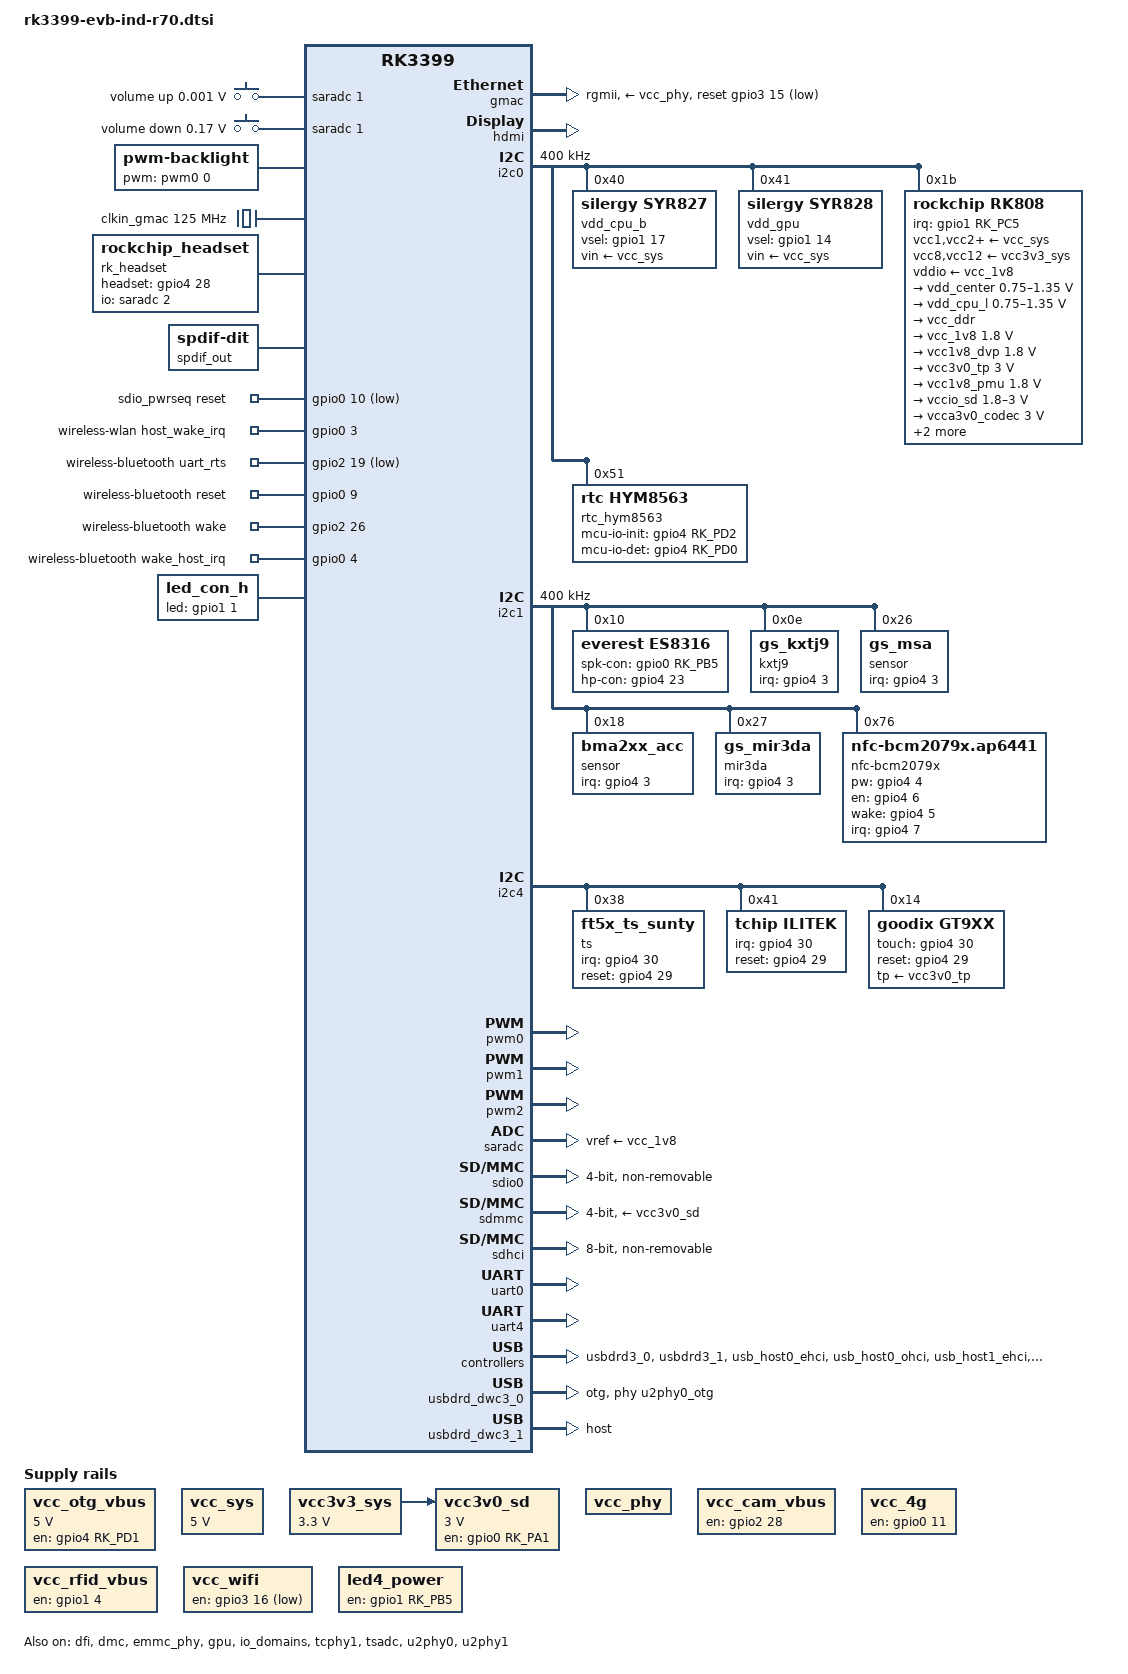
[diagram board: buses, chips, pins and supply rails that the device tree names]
// SPDX-License-Identifier: (GPL-2.0+ OR MIT)
/*
 * Copyright (c) 2019 Fuzhou Rockchip Electronics Co., Ltd
 */

#include "dt-bindings/pwm/pwm.h"
#include "rk3399.dtsi"
#include "rk3399-opp.dtsi"
#include <dt-bindings/sensor-dev.h>
#include "rk3399-vop-clk-set.dtsi"
#include <dt-bindings/input/input.h>

/ {
	compatible = "rockchip,rk3399-evb-ind", "rockchip,rk3399";

	adc_keys {
		compatible = "adc-keys";
		io-channels = <&saradc 1>;
		io-channel-names = "buttons";
		keyup-threshold-microvolt = <1800000>;
		poll-interval = <100>;

		vol-up-key {
			label = "volume up";
			linux,code = <KEY_VOLUMEUP>;
			press-threshold-microvolt = <1000>;
		};

		vol-down-key {
			label = "volume down";
			linux,code = <KEY_VOLUMEDOWN>;
			press-threshold-microvolt = <170000>;
		};
	};

	backlight: backlight {
		status = "okay";
		compatible = "pwm-backlight";
		pwms = <&pwm0 0 500000 0>;
		brightness-levels = <
			  0   1   2   3   4   5   6   7
			  8   9  10  11  12  13  14  15
			 16  17  18  19  20  21  22  23
			 24  25  26  27  28  29  30  31
			 32  33  34  35  36  37  38  39
			 40  41  42  43  44  45  46  47
			 48  49  50  51  52  53  54  55
			 56  57  58  59  60  61  62  63
			 64  65  66  67  68  69  70  71
			 72  73  74  75  76  77  78  79
			 80  81  82  83  84  85  86  87
			 88  89  90  91  92  93  94  95
			 96  97  98  99 100 101 102 103
			104 105 106 107 108 109 110 111
			112 113 114 115 116 117 118 119
			120 121 122 123 124 125 126 127
			128 129 130 131 132 133 134 135
			136 137 138 139 140 141 142 143
			144 145 146 147 148 149 150 151
			152 153 154 155 156 157 158 159
			160 161 162 163 164 165 166 167
			168 169 170 171 172 173 174 175
			176 177 178 179 180 181 182 183
			184 185 186 187 188 189 190 191
			192 193 194 195 196 197 198 199
			200 201 202 203 204 205 206 207
			208 209 210 211 212 213 214 215
			216 217 218 219 220 221 222 223
			224 225 226 227 228 229 230 231
			232 233 234 235 236 237 238 239
			240 241 242 243 244 245 246 247
			248 249 250 251 252 253 254 255>;
		default-brightness-level = <200>;
	};

	clkin_gmac: external-gmac-clock {
		compatible = "fixed-clock";
		clock-frequency = <125000000>;
		clock-output-names = "clkin_gmac";
		#clock-cells = <0>;
	};

	dw_hdmi_audio: dw-hdmi-audio {
		status = "disabled";
		compatible = "rockchip,dw-hdmi-audio";
		#sound-dai-cells = <0>;
	};

	es8316_sound: es8316-sound {
		compatible = "simple-audio-card";
		simple-audio-card,format = "i2s";
		simple-audio-card,name = "rockchip,es8316-codec";
		simple-audio-card,mclk-fs = <256>;
		simple-audio-card,widgets =
			"Microphone", "Mic Jack",
			"Headphone", "Headphone Jack";
		simple-audio-card,routing =
			"Mic Jack", "MICBIAS1",
			"IN1P", "Mic Jack",
			"Headphone Jack", "HPOL",
			"Headphone Jack", "HPOR";
		simple-audio-card,cpu {
			sound-dai = <&i2s0>;
			system-clock-frequency = <11289600>;
		};
		simple-audio-card,codec {
			sound-dai = <&es8316>;
			system-clock-frequency = <11289600>;
		};
	};

	dp_sound: dp-sound {
		status = "disabled";
		compatible = "rockchip,cdndp-sound";
		rockchip,cpu = <&spdif>;
		rockchip,codec = <&cdn_dp 1>;
	};

	hdmi_sound: hdmi-sound {
		status = "disabled";
		compatible = "simple-audio-card";
		simple-audio-card,format = "i2s";
		simple-audio-card,mclk-fs = <256>;
		simple-audio-card,name = "rockchip,hdmi";

		simple-audio-card,cpu {
			sound-dai = <&i2s2>;
		};
		simple-audio-card,codec {
			sound-dai = <&hdmi>;
		};
	};

	rk_headset: rk-headset {
		compatible = "rockchip_headset";
		headset_gpio = <&gpio4 28 GPIO_ACTIVE_HIGH>;
		pinctrl-names = "default";
		pinctrl-0 = <&hp_det>;
		io-channels = <&saradc 2>;
	};

	spdif_sound: spdif-sound {
		status = "okay";
		compatible = "simple-audio-card";
		simple-audio-card,name = "ROCKCHIP,SPDIF";
		simple-audio-card,cpu {
			sound-dai = <&spdif>;
		};
		simple-audio-card,codec {
			sound-dai = <&spdif_out>;
		};
	};

	spdif_out: spdif-out {
		status = "okay";
		compatible = "linux,spdif-dit";
		#sound-dai-cells = <0>;
	};

	sdio_pwrseq: sdio-pwrseq {
		compatible = "mmc-pwrseq-simple";
		clocks = <&rk808 1>;
		clock-names = "ext_clock";
		pinctrl-names = "default";
		pinctrl-0 = <&wifi_enable_h>;

		/*
		 * On the module itself this is one of these (depending
		 * on the actual card populated):
		 * - SDIO_RESET_L_WL_REG_ON
		 * - PDN (power down when low)
		 */
		reset-gpios = <&gpio0 10 GPIO_ACTIVE_LOW>; /* GPIO0_B2 */
	};

	wireless-wlan {
		compatible = "wlan-platdata";
		rockchip,grf = <&grf>;
		wifi_chip_type = "ap6354";
		sdio_vref = <1800>;
		WIFI,host_wake_irq = <&gpio0 3 GPIO_ACTIVE_HIGH>; /* GPIO0_a3 */
		status = "okay";
	};

	wireless-bluetooth {
		compatible = "bluetooth-platdata";
		clocks = <&rk808 1>;
		clock-names = "ext_clock";
		//wifi-bt-power-toggle;
		uart_rts_gpios = <&gpio2 19 GPIO_ACTIVE_LOW>; /* GPIO2_C3 */
		pinctrl-names = "default", "rts_gpio";
		pinctrl-0 = <&uart0_rts>, <&bt_reset_gpio>, <&bt_wake_gpio>, <&bt_irq_gpio>;
		pinctrl-1 = <&uart0_gpios>;
		//BT,power_gpio  = <&gpio3 19 GPIO_ACTIVE_HIGH>; /* GPIOx_xx */
		BT,reset_gpio    = <&gpio0 9 GPIO_ACTIVE_HIGH>; /* GPIO0_B1 */
		BT,wake_gpio     = <&gpio2 26 GPIO_ACTIVE_HIGH>; /* GPIO2_D2 */
		BT,wake_host_irq = <&gpio0 4 GPIO_ACTIVE_HIGH>; /* GPIO0_A4 */
		status = "okay";
	};
    pwmleds{
		compatible = "pwm-wa-leds";
		left-pwm-id = <1>;
		left-period = <30000>;	
		left-default-level = <0>;
		right-pwm-id = <2>;	
		right-period = <30000>;	
		right-default-level = <0>;

		left-red = <155>;//GPIO4_D3
		left-green = <149>;//GPIO4_C5
		left-blue = <56>;//GPIO1_D0
		right-red = <125>;//GPIO3_D5
		right-green = <124>;//GPIO3_D4
		right-blue = <126>;//GPIO3_D6

		status = "okay";	
	};

	led_con_h {
		compatible = "led_con_h";
		//zigbee-en-gpio = <&gpio0 GPIO_C2 GPIO_ACTIVE_HIGH>;
		led-power = <45>;//gpio1 RK_PB5
		led-gpio = <&gpio1 1 GPIO_ACTIVE_HIGH>;
		status = "okay";
	};

/*	
	rk_modem: rk-modem {
		compatible="4g-modem-platdata";
		pinctrl-names = "default";
		pinctrl-0 = <&lte_vbat &lte_power_en &lte_reset>;
		4G,vbat-gpio = <&gpio4 RK_PD0 GPIO_ACTIVE_HIGH>;
		4G,power-gpio = <&gpio4 RK_PC6 GPIO_ACTIVE_LOW>;
		4G,reset-gpio = <&gpio4 RK_PD4 GPIO_ACTIVE_LOW>;
		status = "disabled";
	};
*/
	/*tc358749x_sound:tc358749x-sound {
		status = "okay";
		compatible = "simple-audio-card";
		simple-audio-card,format = "i2s";
		simple-audio-card,name = "rk,hdmiin-tc358749x-codec";
		simple-audio-card,bitclock-master = <&sound0_master>;
		simple-audio-card,frame-master = <&sound0_master>;
		simple-audio-card,cpu {
				sound-dai = <&i2s0>;
		};
		sound0_master: simple-audio-card,codec {
				sound-dai = <&tc358749x>;
		};
	};*/

	vcc_otg_vbus: otg-vbus-regulator { 	
		compatible = "regulator-fixed"; 
		//gpio = <&gpio3 RK_PC6 GPIO_ACTIVE_HIGH>; 
		gpio = <&gpio4 RK_PD1 GPIO_ACTIVE_HIGH>;
		pinctrl-names = "default"; 
		pinctrl-0 = <&otg_vbus_drv>; 
		regulator-name = "vcc_otg_vbus"; 
		regulator-min-microvolt = <5000000>; 
		regulator-max-microvolt = <5000000>; 
		enable-active-high; 
	};
/*
	vcc5v0_usbnet: vcc5v0-usbnet {
		compatible = "regulator-fixed";
		enable-active-high;
		//gpio = <&gpio4 18 GPIO_ACTIVE_HIGH>;
		pinctrl-names = "default";
		pinctrl-0 = <&usbnet_pwr_drv>;
		regulator-name = "vcc5v0_usbnet";
		startup-delay-us = <20000>;
		regulator-min-microvolt = <5000000>;
		regulator-max-microvolt = <5000000>;
		status = "okay";
	};
*/
	vcc_sys: vcc-sys {
		compatible = "regulator-fixed";	
		regulator-name = "vcc_sys";
		regulator-always-on;
		regulator-boot-on;
		regulator-min-microvolt = <5000000>;
		regulator-max-microvolt = <5000000>;
	};

	vcc3v3_sys: vcc3v3-sys {
		compatible = "regulator-fixed";
		regulator-name = "vcc3v3_sys";
		regulator-always-on;
		regulator-boot-on;
		regulator-min-microvolt = <3300000>;
		regulator-max-microvolt = <3300000>;
	};

	vcc3v0_sd: vcc3v0-sd {
		compatible = "regulator-fixed";
		enable-active-high;
		gpio = <&gpio0 RK_PA1 GPIO_ACTIVE_HIGH>;
		pinctrl-names = "default";
		pinctrl-0 = <&sdmmc0_pwr_h>;
		regulator-always-on;
		regulator-max-microvolt = <3000000>;
		regulator-min-microvolt = <3000000>;
		regulator-name = "vcc3v0_sd";
		vin-supply = <&vcc3v3_sys>;
	};

	vcc_phy: vcc-phy-regulator {
		compatible = "regulator-fixed";
		regulator-name = "vcc_phy";
		regulator-always-on;
		regulator-boot-on;
	};

	vcc_cam_vbus: cam-vbus-regulator { 	
		compatible = "regulator-fixed"; 		
		gpio = <&gpio2 28 GPIO_ACTIVE_HIGH>;
		pinctrl-names = "default"; 
		pinctrl-0 = <&usb_cam_drv>; 
		regulator-name = "vcc_cam_vbus"; 
		regulator-always-on;
		regulator-boot-on; 
		enable-active-high; 
	};

	vcc_4g: vcc-4g-regulator {
		compatible = "regulator-fixed";
		enable-active-high;
		gpio = <&gpio0 11 GPIO_ACTIVE_HIGH>;
		pinctrl-names = "default";
		pinctrl-0 = <&vcc_4g_drv>;
		regulator-name = "vcc_4g";
		regulator-always-on;
		regulator-boot-on;		
	};

	vcc_rfid_vbus: rfid-vbus-regulator { 	
		compatible = "regulator-fixed"; 		
		gpio = <&gpio1 4 GPIO_ACTIVE_HIGH>;
		pinctrl-names = "default"; 
		pinctrl-0 = <&vcc_rfid_drv>; 
		regulator-name = "vcc_rfid_vbus"; 
		regulator-always-on;
		regulator-boot-on; 
		enable-active-high; 
	};

	vcc_wifi: vcc-wifi-regulator { 	
		compatible = "regulator-fixed"; 		
		gpio = <&gpio3 16 GPIO_ACTIVE_LOW>;
		pinctrl-names = "default"; 
		pinctrl-0 = <&vcc_wifi_drv>; 
		regulator-name = "vcc_wifi"; 
		regulator-always-on;
		regulator-boot-on; 
		enable-active-low; 
	};

	led4_power: led4-power-regulator {
		compatible = "regulator-fixed";
		gpio = <&gpio1 RK_PB5 GPIO_ACTIVE_HIGH>;
		pinctrl-names = "default";
		pinctrl-0 = <&led4_pwr>;
		regulator-name = "led4_power";
		enable-active-high;
		regulator-always-on;
		regulator-boot-on;
	};

	/*vdd_log: vdd-log {
		compatible = "pwm-regulator";
		regulator-name = "vdd_log";
		regulator-min-microvolt = <800000>;
		regulator-max-microvolt = <1400000>;
		regulator-always-on;
		regulator-boot-on;
		rockchip,pwm_id= <2>;
		rockchip,pwm_voltage = <900000>;
	};*/
};

&cpu_l0 {
	cpu-supply = <&vdd_cpu_l>;
};

&cpu_l1 {
	cpu-supply = <&vdd_cpu_l>;
};

&cpu_l2 {
	cpu-supply = <&vdd_cpu_l>;
};

&cpu_l3 {
	cpu-supply = <&vdd_cpu_l>;
};

&cpu_b0 {
	cpu-supply = <&vdd_cpu_b>;
};

&cpu_b1 {
	cpu-supply = <&vdd_cpu_b>;
};
/*
&cdn_dp {
	status = "okay";
	extcon = <&fusb0>;
	phys = <&tcphy0_dp>;
};
*/
&dp_in_vopb {
	status = "disabled";
};

&dfi {
	status = "okay";
};

&dmc {
	status = "okay";
	center-supply = <&vdd_center>;
	upthreshold = <40>;
	downdifferential = <20>;
	system-status-freq = <
		/*system status         freq(KHz)*/
		SYS_STATUS_NORMAL       856000
		SYS_STATUS_REBOOT       856000
		SYS_STATUS_SUSPEND      328000
		SYS_STATUS_VIDEO_1080P  666000
		SYS_STATUS_VIDEO_4K     856000
		SYS_STATUS_VIDEO_4K_10B 856000
		SYS_STATUS_PERFORMANCE  856000
		SYS_STATUS_BOOST        856000
		SYS_STATUS_DUALVIEW     856000
		SYS_STATUS_ISP          856000
	>;
	vop-bw-dmc-freq = <
	/* min_bw(MB/s) max_bw(MB/s) freq(KHz) */
		0       762      416000
		763     3012     666000
		3013    99999    856000
	>;

	vop-pn-msch-readlatency = <
		0	0x20
		4	0x20
	>;

	auto-min-freq = <328000>;
	auto-freq-en = <0>;
};

&dmc_opp_table {
		compatible = "operating-points-v2";

		opp-200000000 {
			opp-hz = /bits/ 64 <200000000>;
			opp-microvolt = <900000>;
			status = "disabled";
		};
		opp-300000000 {
			opp-hz = /bits/ 64 <300000000>;
			opp-microvolt = <900000>;
			status = "disabled";
		};
		opp-328000000 {
			opp-hz = /bits/ 64 <328000000>;
			opp-microvolt = <900000>;
		};
		opp-400000000 {
			opp-hz = /bits/ 64 <400000000>;
			opp-microvolt = <900000>;
			status = "disabled";
		};
		opp-416000000 {
			opp-hz = /bits/ 64 <416000000>;
			opp-microvolt = <900000>;
		};
		opp-528000000 {
			opp-hz = /bits/ 64 <528000000>;
			opp-microvolt = <900000>;
			status = "disabled";
		};
		opp-600000000 {
			opp-hz = /bits/ 64 <600000000>;
			opp-microvolt = <900000>;
			status = "disabled";
		};
		opp-666000000 {
			opp-hz = /bits/ 64 <666000000>;
			opp-microvolt = <900000>;
		};
		opp-800000000 {
			opp-hz = /bits/ 64 <800000000>;
			opp-microvolt = <900000>;
			status = "disabled";
		};
		opp-856000000 {
			opp-hz = /bits/ 64 <856000000>;
			opp-microvolt = <900000>;
		};
		opp-928000000 {
			opp-hz = /bits/ 64 <928000000>;
			opp-microvolt = <900000>;
			status = "disabled";
		};
};

&emmc_phy {
	status = "okay";
};

&gmac {
	phy-supply = <&vcc_phy>;
	phy-mode = "rgmii";
	clock_in_out = "output";
	snps,reset-gpio = <&gpio3 15 GPIO_ACTIVE_LOW>;
	snps,reset-active-low;
	snps,reset-delays-us = <0 10000 150000>;
	assigned-clocks = <&cru SCLK_RMII_SRC>;
	assigned-clock-parents = <&clkin_gmac>;
	pinctrl-names = "default";
	pinctrl-0 = <&rgmii_pins>;
	tx_delay = <0x28>;
	rx_delay = <0x11>;
	status = "okay";
};

&gpu {
	status = "okay";
	mali-supply = <&vdd_gpu>;
};

&hdmi {
	status = "okay";
};

&i2c0 {
	status = "okay";
	i2c-scl-rising-time-ns = <168>;
	i2c-scl-falling-time-ns = <4>;
	clock-frequency = <400000>;



	vdd_cpu_b: syr837@40 {
		compatible = "silergy,syr827";
		reg = <0x40>;
		vin-supply = <&vcc_sys>;
		regulator-compatible = "fan53555-reg";
		pinctrl-0 = <&vsel1_gpio>;
		vsel-gpios = <&gpio1 17 GPIO_ACTIVE_HIGH>;
		regulator-name = "vdd_cpu_b";
		regulator-min-microvolt = <712500>;
		regulator-max-microvolt = <1500000>;
		regulator-ramp-delay = <1000>;
		fcs,suspend-voltage-selector = <1>;
		regulator-always-on;
		regulator-initial-state = <3>;
		regulator-state-mem {
		    //modify by pirlo for slove reboot crash
			regulator-on-in-suspend;
		};
	};

	
	vdd_gpu: syr828@41 {
		compatible = "silergy,syr828";
		status = "okay";
		reg = <0x41>;
		vin-supply = <&vcc_sys>;
		regulator-compatible = "fan53555-reg";
		pinctrl-0 = <&vsel2_gpio>;
		vsel-gpios = <&gpio1 14 GPIO_ACTIVE_HIGH>;
		regulator-name = "vdd_gpu";
		regulator-min-microvolt = <735000>;
		regulator-max-microvolt = <1400000>;
		regulator-ramp-delay = <1000>;
		fcs,suspend-voltage-selector = <1>;
		regulator-always-on;
		regulator-boot-on;
		regulator-state-mem {
			//modify by pirlo for slove reboot crash
			regulator-on-in-suspend;
		};
	};

	rk808: pmic@1b {
		compatible = "rockchip,rk808";
		reg = <0x1b>;
		interrupt-parent = <&gpio1>;
		interrupts = <RK_PC5 IRQ_TYPE_LEVEL_LOW>;
		pinctrl-names = "default";//add by rocky.sun
		pinctrl-0 = <&pmic_int_l>;
		rockchip,system-power-controller;
		wakeup-source;
		#clock-cells = <1>;
		clock-output-names = "rk808-clkout1", "rk808-clkout2";
		//clock-output-names = "xin32k", "rk808-clkout2";//modify by rocky.sun


		vcc1-supply = <&vcc_sys>;
		vcc2-supply = <&vcc_sys>;
		vcc3-supply = <&vcc_sys>;
		vcc4-supply = <&vcc_sys>;
		vcc6-supply = <&vcc_sys>;
		vcc7-supply = <&vcc_sys>;
		vcc8-supply = <&vcc3v3_sys>;
		vcc9-supply = <&vcc_sys>;
		vcc10-supply = <&vcc_sys>;
		vcc11-supply = <&vcc_sys>;
		vcc12-supply = <&vcc3v3_sys>;
		vddio-supply = <&vcc_1v8>;


		regulators {
			vdd_center: DCDC_REG1 {
				regulator-always-on;
				regulator-boot-on;
				regulator-min-microvolt = <750000>;
				regulator-max-microvolt = <1350000>;
				regulator-ramp-delay = <6001>;
				regulator-initial-mode = <0x2>;
				regulator-name = "vdd_center";
				regulator-state-mem {
					//regulator-off-in-suspend;
					regulator-on-in-suspend;
					regulator-suspend-microvolt = <900000>;
				};
			};

			vdd_cpu_l: DCDC_REG2 {
				regulator-always-on;
				regulator-boot-on;
				regulator-min-microvolt = <750000>;
				regulator-max-microvolt = <1350000>;
				regulator-ramp-delay = <6001>;
				regulator-initial-mode = <0x2>;
				regulator-name = "vdd_cpu_l";
				regulator-state-mem {
					regulator-off-in-suspend;
				};
			};

			vcc_ddr: DCDC_REG3 {
				regulator-always-on;
				regulator-boot-on;
				regulator-name = "vcc_ddr";
				regulator-initial-mode = <0x2>;
				regulator-state-mem {
					regulator-on-in-suspend;
				};
			};

			 //vcca1v8_codec:
			vcc_1v8: DCDC_REG4 {
				regulator-always-on;
				regulator-boot-on;
				regulator-min-microvolt = <1800000>;
				regulator-max-microvolt = <1800000>;
				regulator-initial-mode = <0x2>;
				regulator-name = "vcc_1v8";
				regulator-state-mem {
					regulator-on-in-suspend;
					regulator-suspend-microvolt = <1800000>;
				};
			};
			vcc1v8_dvp: LDO_REG1 {
				regulator-always-on;
				regulator-boot-on;
				regulator-min-microvolt = <1800000>;//1900000
				regulator-max-microvolt = <1800000>;//1900000
				regulator-name = "vcc1v8_dvp";
				regulator-state-mem {
					regulator-on-in-suspend;
					regulator-suspend-microvolt = <1800000>;
				};
			};

			vcc3v0_tp: LDO_REG2 {
				regulator-always-on;
				regulator-boot-on;
				//modify by pirlo for hdmi voltage to  touchscreen 3.0v
				regulator-min-microvolt = <3000000>;
				regulator-max-microvolt = <3000000>;
				regulator-name = "vcc3v0_tp";
				regulator-state-mem {
					regulator-on-in-suspend;
					regulator-suspend-microvolt = <3000000>;
				};
			};

			vcc1v8_pmu: LDO_REG3 {
				regulator-always-on;
				regulator-boot-on;
				regulator-min-microvolt = <1800000>;
				regulator-max-microvolt = <1800000>;
				regulator-name = "vcc1v8_pmu";
				regulator-state-mem {
					regulator-on-in-suspend;
					regulator-suspend-microvolt = <1800000>;
				};
			};

			vccio_sd: LDO_REG4 {
				regulator-always-on;
				regulator-boot-on;
				regulator-min-microvolt = <1800000>;
				regulator-max-microvolt = <3000000>;
				regulator-name = "vccio_sd";
				regulator-state-mem {
					regulator-on-in-suspend;
					regulator-suspend-microvolt = <3000000>;
				};
			};

			vcca3v0_codec: LDO_REG5 {
				regulator-always-on;
				regulator-boot-on;
				regulator-min-microvolt = <3000000>;
				regulator-max-microvolt = <3000000>;
				regulator-name = "vcca3v0_codec";
				regulator-state-mem {
					//regulator-off-in-suspend;
					regulator-on-in-suspend;
					regulator-suspend-microvolt = <3000000>;
				};
			};

			vcc_1v5: LDO_REG6 {
				regulator-always-on;
				regulator-boot-on;
				regulator-min-microvolt = <1500000>;
				regulator-max-microvolt = <1500000>;
				regulator-name = "vcc_1v5";
				regulator-state-mem {
					regulator-on-in-suspend;
					regulator-suspend-microvolt = <1500000>;
				};
			};

            //modify by pirlo for change hdmi 0.9v to codec 1.8v
			vcca1v8_codec: LDO_REG7 {
				regulator-name = "vcca1v8_codec";
				regulator-min-microvolt = <1800000>;
				regulator-max-microvolt = <1800000>;
				regulator-always-on;
				regulator-boot-on;
				regulator-state-mem {
					regulator-on-in-suspend;
					regulator-suspend-microvolt = <1800000>;
				};
			};

			vcc_3v0: LDO_REG8 {
				regulator-always-on;
				regulator-boot-on;
				regulator-min-microvolt = <3000000>;
				regulator-max-microvolt = <3000000>;
				regulator-name = "vcc_3v0";
				regulator-state-mem {
					regulator-on-in-suspend;
					regulator-suspend-microvolt = <3000000>;
				};
			};

			vcc3v3_s3: SWITCH_REG1 {
				regulator-always-on;
				regulator-boot-on;
				regulator-name = "vcc3v3_s3";
				regulator-state-mem {
					regulator-on-in-suspend;
				};
			};

			vcc3v3_s0: SWITCH_REG2 {
				regulator-boot-on;
				//modify by pirlo 
				//regulator-always-on;
				regulator-name = "vcc3v3_s0";
				regulator-state-mem {
					regulator-off-in-suspend;
				};
			};
		};
	};

	//modify by pirlo  for rtc
	rtc_hym8563: rtc_hym8563@51 {
		compatible = "rtc,hym8563";
		reg = <0x51>;
		mcu-io-init = <&gpio4 RK_PD2 GPIO_ACTIVE_HIGH>;	
		mcu-io-det = <&gpio4 RK_PD0 GPIO_ACTIVE_HIGH>;	
	};
};

&i2c1 {
	status = "okay";
	i2c-scl-rising-time-ns = <140>;
	i2c-scl-falling-time-ns = <30>;
	clock-frequency = <400000>;
	
	es8316: es8316@10 {
		#sound-dai-cells = <0>;
		compatible = "everest,es8316";
		reg = <0x10>;
		clocks = <&cru SCLK_I2S_8CH_OUT>;
		clock-names = "mclk";
		pinctrl-names = "default";
		pinctrl-0 = <&i2s_8ch_mclk>;

		spk-con-gpio = <&gpio0 RK_PB5 GPIO_ACTIVE_HIGH>;//LPDDR4
		hp-con-gpio = <&gpio4 23 GPIO_ACTIVE_HIGH>;
		spk_volume = <0x99>;

        extcon = <&rk_headset>;
		status = "okay";		
	};	
  
	kxtj9@0e {
		compatible = "gs_kxtj9";
		reg = <0x0e>;
		type = <SENSOR_TYPE_ACCEL>;
        irq-gpio = <&gpio4 3 IRQ_TYPE_LEVEL_LOW>;		
		irq_enable = <0>;
		poll_delay_ms = <30>;
		//layout = <5>;	 //R66 R67
		layout = <2>;	 //R69	
		status = "okay";
	};
	
	sensor@26 {
		compatible = "gs_msa";
		reg = <0x26>;
		type = <SENSOR_TYPE_ACCEL>;
		irq-gpio = <&gpio4 3 IRQ_TYPE_LEVEL_LOW>;		
		irq_enable = <0>;
		poll_delay_ms = <30>;
		layout = <3>;
	};

	sensor@18 {
		compatible = "bma2xx_acc";
		reg = <0x18>;
		type = <SENSOR_TYPE_ACCEL>;
        irq-gpio = <&gpio4 3 IRQ_TYPE_LEVEL_LOW>;		
		irq_enable = <0>;
		poll_delay_ms = <30>;
		//layout = <5>;	 //R66 R67
		layout = <2>;	 //R69	
		status = "okay";
	};

	mir3da:sensor@27{
		compatible = "gs_mir3da"; 
		reg = <0x27>; 
		type = <SENSOR_TYPE_ACCEL>; 
		
		irq-gpio = <&gpio4 3 IRQ_TYPE_LEVEL_LOW>;           
		irq_enable = <0>; 
		poll_delay_ms = <30>; 
		//layout = <2>;   /// R08 DEMO 180   21.5 24
		layout = <4>;   /// R08 DEMO rotation 0  32 15.6
	};
	
    nfc-bcm2079x@76 {
        	compatible = "nfc-bcm2079x.ap6441";
        	reg = <0x76>;
        	pw_gpio = <&gpio4 4 GPIO_ACTIVE_HIGH>;       ////gpio4_a4
        	en_gpio = <&gpio4 6 GPIO_ACTIVE_HIGH>;       ////gpio4_a6
        	wake_gpio = <&gpio4 5 GPIO_ACTIVE_HIGH>;     ////gpio4_a5
        	irq_gpio = <&gpio4 7 IRQ_TYPE_EDGE_RISING>;  ////gpio4_a7
        	status = "okay";
    };
};

&i2c4 {
	status = "okay";
	i2c-scl-rising-time-ns = <475>;
	i2c-scl-falling-time-ns = <26>;

	ts@38 {
        status = "okay";
        compatible = "ft5x_ts_sunty";
        reg = <0x38>;
        irq-gpio = <&gpio4 30 IRQ_TYPE_LEVEL_LOW>;
        reset-gpio = <&gpio4 29 GPIO_ACTIVE_HIGH>;
        screen_max_x = <1920>;
        screen_max_y = <1080>;
		pinctrl-names = "default";
		//pinctrl-0 = <&tp_irq &tp_rst>;
    };

	ilitek@41 {
		status = "okay";
		compatible = "tchip,ilitek";
		reg = <0x41>;
		ilitek,irq-gpio = <&gpio4 30 IRQ_TYPE_LEVEL_LOW>;
		ilitek,reset-gpio = <&gpio4 29 GPIO_ACTIVE_HIGH>;
    	};

	gt9xx: gt9xx@14 {
		status = "okay";
		compatible = "goodix,gt9xx";
		reg = <0x14>;
		touch-gpio = <&gpio4 30 IRQ_TYPE_LEVEL_LOW>;
		reset-gpio = <&gpio4 29 GPIO_ACTIVE_HIGH>;
		//max-x = <1200>;
		//max-y = <1900>;
		tp-size = <89>;
		max-x = <1280>;
		max-y = <800>;
		tp-supply = <&vcc3v0_tp>;	
	};	
};

&i2c6 {
	cw2015@62 {
		status = "disabled";
		compatible = "cw201x";
		reg = <0x62>;
		bat_config_info = <0x15 0x42 0x60 0x59 0x52 0x58 0x4D 0x48
				   0x48 0x44 0x44 0x46 0x49 0x48 0x32 0x24
				   0x20 0x17 0x13 0x0F 0x19 0x3E 0x51 0x45
				   0x08 0x76 0x0B 0x85 0x0E 0x1C 0x2E 0x3E
				   0x4D 0x52 0x52 0x57 0x3D 0x1B 0x6A 0x2D
				   0x25 0x43 0x52 0x87 0x8F 0x91 0x94 0x52
				   0x82 0x8C 0x92 0x96 0xFF 0x7B 0xBB 0xCB
				   0x2F 0x7D 0x72 0xA5 0xB5 0xC1 0x46 0xAE>;
		monitor_sec = <5>;
		virtual_power = <0>;
	};
};

&i2s0 {
	status = "disabled";
	rockchip,i2s-broken-burst-len;
	rockchip,playback-channels = <8>;
	rockchip,capture-channels = <8>;
	#sound-dai-cells = <0>;
};

&i2s1 {
	#sound-dai-cells = <0>;
	status = "disabled";
};

&i2s2 {
	#sound-dai-cells = <0>;
	dmas = <&dmac_bus 4>;
	dma-names = "tx";
	status = "disabled";
};

&io_domains {
	status = "okay";

	bt656-supply = <&vcc1v8_dvp>;		/* bt656_gpio2ab_ms */
	audio-supply = <&vcc_1v8>;	/* audio_gpio3d4a_ms */
	sdmmc-supply = <&vccio_sd>;		/* sdmmc_gpio4b_ms */
	gpio1830-supply = <&vcc_3v0>;		/* gpio1833_gpio4cd_ms */
};

&isp0_mmu {
	status = "okay";
};

&isp1_mmu {
	status = "okay";
};

&pmu_io_domains {
	status = "okay";
	pmu1830-supply = <&vcc_3v0>;
};

/*
&pcie_phy {
	status = "okay";
};

&pcie0 {
	ep-gpios = <&gpio2 RK_PA4 GPIO_ACTIVE_HIGH>;
	num-lanes = <4>;
	pinctrl-names = "default";
	pinctrl-0 = <&pcie_clkreqn_cpm>;
	status = "okay";
};
*/
&pwm0 {
	status = "okay";
};

&pwm1 {
	status = "okay";
};

&pwm2 {
	status = "okay";
//	pinctrl-names = "active";
//	pinctrl-0 = <&pwm2_pin_pull_down>;
};
/*
&pwm3 {
	status = "okay";

	interrupts = <GIC_SPI 61 IRQ_TYPE_LEVEL_HIGH 0>;
	compatible = "rockchip,remotectl-pwm";
	remote_pwm_id = <3>;
	handle_cpu_id = <1>;
	remote_support_psci = <4>;
	pinctrl-names = "default";

	ir_key1 {
		rockchip,usercode = <0x4040>;
		rockchip,key_table =
			<0xf2	KEY_REPLY>,
			<0xba	KEY_BACK>,
			<0xf4	KEY_UP>,
			<0xf1	KEY_DOWN>,
			<0xef	KEY_LEFT>,
			<0xee	KEY_RIGHT>,
			<0xbd	KEY_HOME>,
			<0xea	KEY_VOLUMEUP>,
			<0xe3	KEY_VOLUMEDOWN>,
			<0xe2	KEY_SEARCH>,
			<0xb2	KEY_POWER>,
			<0xbc	KEY_MUTE>,
			<0xec	KEY_MENU>,
			<0xbf	0x190>,
			<0xe0	0x191>,
			<0xe1	0x192>,
			<0xe9	183>,
			<0xe6	248>,
			<0xe8	185>,
			<0xe7	186>,
			<0xf0	388>,
			<0xbe	0x175>;
	};

	ir_key2 {
		rockchip,usercode = <0xff00>;
		rockchip,key_table =
			<0xf9	KEY_HOME>,
			<0xbf	KEY_BACK>,
			<0xfb	KEY_MENU>,
			<0xaa	KEY_REPLY>,
			<0xb9	KEY_UP>,
			<0xe9	KEY_DOWN>,
			<0xb8	KEY_LEFT>,
			<0xea	KEY_RIGHT>,
			<0xeb	KEY_VOLUMEDOWN>,
			<0xef	KEY_VOLUMEUP>,
			<0xf7	KEY_MUTE>,
			<0xe7	KEY_POWER>,
			<0xfc	KEY_POWER>,
			<0xa9	KEY_VOLUMEDOWN>,
			<0xa8	KEY_VOLUMEDOWN>,
			<0xe0	KEY_VOLUMEDOWN>,
			<0xa5	KEY_VOLUMEDOWN>,
			<0xab	183>,
			<0xb7	388>,
			<0xe8	388>,
			<0xf8	184>,
			<0xaf	185>,
			<0xed	KEY_VOLUMEDOWN>,
			<0xee	186>,
			<0xb3	KEY_VOLUMEDOWN>,
			<0xf1	KEY_VOLUMEDOWN>,
			<0xf2	KEY_VOLUMEDOWN>,
			<0xf3	KEY_SEARCH>,
			<0xb4	KEY_VOLUMEDOWN>,
			<0xbe	KEY_SEARCH>;
	};

	ir_key3 {
		rockchip,usercode = <0x1dcc>;
		rockchip,key_table =
			<0xee	KEY_REPLY>,
			<0xf0	KEY_BACK>,
			<0xf8	KEY_UP>,
			<0xbb	KEY_DOWN>,
			<0xef	KEY_LEFT>,
			<0xed	KEY_RIGHT>,
			<0xfc	KEY_HOME>,
			<0xf1	KEY_VOLUMEUP>,
			<0xfd	KEY_VOLUMEDOWN>,
			<0xb7	KEY_SEARCH>,
			<0xff	KEY_POWER>,
			<0xf3	KEY_MUTE>,
			<0xbf	KEY_MENU>,
			<0xf9	0x191>,
			<0xf5	0x192>,
			<0xb3	388>,
			<0xbe	KEY_1>,
			<0xba	KEY_2>,
			<0xb2	KEY_3>,
			<0xbd	KEY_4>,
			<0xf9	KEY_5>,
			<0xb1	KEY_6>,
			<0xfc	KEY_7>,
			<0xf8	KEY_8>,
			<0xb0	KEY_9>,
			<0xb6	KEY_0>,
			<0xb5	KEY_BACKSPACE>;
	};
};
*/
&rockchip_suspend {
	status = "okay";
	rockchip,sleep-debug-en = <1>;
	rockchip,sleep-mode-config = <
		(0
		| RKPM_SLP_ARMPD
		| RKPM_SLP_PERILPPD
		| RKPM_SLP_DDR_RET
		| RKPM_SLP_PLLPD
		| RKPM_SLP_CENTER_PD
		| RKPM_SLP_AP_PWROFF
		)
		>;
	rockchip,wakeup-config = <
		(0
		| RKPM_GPIO_WKUP_EN
		| RKPM_PWM_WKUP_EN
		)
		>;
		rockchip,pwm-regulator-config = <
		(0
		| PWM2_REGULATOR_EN
		)
		>;
		rockchip,power-ctrl =
		<&gpio1 17 GPIO_ACTIVE_HIGH>,
		<&gpio1 14 GPIO_ACTIVE_HIGH>;
};

&saradc {
	status = "okay";
};

&spdif {
	status = "disabled";
	pinctrl-0 = <&spdif_bus>;
	i2c-scl-rising-time-ns = <450>;
	i2c-scl-falling-time-ns = <15>;
	#sound-dai-cells = <0>;
};

&sdio0 {
	clock-frequency = <50000000>;
	clock-freq-min-max = <200000 50000000>;
	supports-sdio;
	bus-width = <4>;
	disable-wp;
	cap-sd-highspeed;
	cap-sdio-irq;
	keep-power-in-suspend;
	mmc-pwrseq = <&sdio_pwrseq>;
	non-removable;
	num-slots = <1>;
	pinctrl-names = "default";
	pinctrl-0 = <&sdio0_bus4 &sdio0_cmd &sdio0_clk>;
	//sd-uhs-sdr104;
	status = "okay";
};

&sdmmc {
	clock-frequency = <150000000>;
	clock-freq-min-max = <100000 150000000>;
	supports-sd;
	bus-width = <4>;
	cap-mmc-highspeed;
	cap-sd-highspeed;
	disable-wp;
	num-slots = <1>;
	sd-uhs-sdr104;
	vmmc-supply = <&vcc3v0_sd>;
	vqmmc-supply = <&vccio_sd>;
	pinctrl-names = "default";
	pinctrl-0 = <&sdmmc_clk &sdmmc_cmd &sdmmc_cd &sdmmc_bus4>;
	status = "okay";
};

&sdhci {
	bus-width = <8>;
	mmc-hs400-1_8v;
	supports-emmc;
	non-removable;
	keep-power-in-suspend;
	mmc-hs400-enhanced-strobe;
	status = "okay";
};

&saradc {
	status = "okay";
	vref-supply = <&vcc_1v8>;
};

&tcphy0 {
	//extcon = <&fusb0>;
	status = "disabled";
};

&tcphy1 {
	status = "okay";
};

&tsadc {
	/* tshut mode 0:CRU 1:GPIO */
	rockchip,hw-tshut-mode = <1>;
	/* tshut polarity 0:LOW 1:HIGH */
	rockchip,hw-tshut-polarity = <1>;
	status = "okay";
};

&uart0 {
	pinctrl-names = "default";
	pinctrl-0 = <&uart0_xfer &uart0_cts>;
	status = "okay";
};

&uart2 {
	status = "disabled";
};

&uart4 {
	status = "okay";
};

&u2phy0 {
	status = "okay";
	//extcon = <&fusb0>;

	u2phy0_otg: otg-port {
		vbus-supply = <&vcc_otg_vbus>;
		//rockchip,vbus-always-on;
		status = "okay";
	};

	u2phy0_host: host-port {
		//phy-supply = <&vcc5v0_usb>;
		status = "okay";
	};
};

&u2phy1 {
	status = "okay";

	u2phy1_otg: otg-port {
		status = "okay";
	};

	u2phy1_host: host-port {
		status = "okay";
	};
};

&usbdrd3_0 {
	extcon = <&u2phy0>;
	status = "okay";
};

&usbdrd3_1 {
	status = "okay";
};

&usbdrd_dwc3_0 {
	dr_mode = "otg";
	maximum-speed = "high-speed";
	phys = <&u2phy0_otg>;
	extcon = <&u2phy0>;
	status = "okay";
	phy-names = "usb2-phy";
	//extcon = <&fusb0>;
};

&usbdrd_dwc3_1 {
	status = "okay";
	dr_mode = "host";
};

&usb_host0_ehci {
	status = "okay";
};

&usb_host0_ohci {
	status = "okay";
};

&usb_host1_ehci {
	status = "okay";
};

&usb_host1_ohci {
	status = "okay";
};

&vopb {
	assigned-clocks = <&cru DCLK_VOP0_DIV>;
	assigned-clock-parents = <&cru PLL_CPLL>;
};

&vopl {
	assigned-clocks = <&cru DCLK_VOP1_DIV>;
	assigned-clock-parents = <&cru PLL_VPLL>;
};

&pinctrl {

	ak8963 {
		ak8963_irq_gpio: ak8963-irq-gpio {
			rockchip,pins = <1 RK_PA0 RK_FUNC_GPIO &pcfg_pull_none>;
		};
	};

	charger {
		charger_ok: charge-ok {
			rockchip,pins =
				<0 RK_PA5 RK_FUNC_GPIO &pcfg_pull_up>;
		};
	};

	led {
		led4_pwr: led4-pwr {
			rockchip,pins = <1 RK_PB5 RK_FUNC_GPIO &pcfg_pull_none>;
		};
	};

	i2s0 {
		i2s0_8ch_bus: i2s0-8ch-bus {
			rockchip,pins =
				<3 RK_PD0 1 &pcfg_pull_none>,
				<3 RK_PD2 1 &pcfg_pull_none>,
				<3 RK_PD3 1 &pcfg_pull_none>,
				//<3 RK_PD4 1 &pcfg_pull_none>,
				//<3 RK_PD5 1 &pcfg_pull_none>,
				//<3 RK_PD6 1 &pcfg_pull_none>,
				<3 RK_PD7 1 &pcfg_pull_none>;
			};

		i2s_8ch_mclk: i2s-8ch-mclk {
				rockchip,pins = <4 RK_PA0 1 &pcfg_pull_none>;
		};
	};

	i2s1 {
		i2s1_2ch_bus: i2s1-2ch-bus {
			rockchip,pins =
				<4 RK_PA3 1 &pcfg_pull_none>,
				<4 RK_PA5 1 &pcfg_pull_none>,
				<4 RK_PA6 1 &pcfg_pull_none>,
				<4 RK_PA7 1 &pcfg_pull_none>;
		};
	};

	headphone {
		hp_det: hp-det {
			rockchip,pins =
				<4 RK_PD4 RK_FUNC_GPIO &pcfg_pull_up>;
		};
	};

	hdmiin {
		hdmiin_gpios: hdmiin_gpios {
		rockchip,pins =
				<0 RK_PB5 RK_FUNC_GPIO &pcfg_pull_none>,
				<3 RK_PD1 RK_FUNC_GPIO &pcfg_pull_none>,
				<0 RK_PA2 RK_FUNC_GPIO &pcfg_pull_none>,
				<4 RK_PA4 RK_FUNC_GPIO &pcfg_pull_none>;
		};
	};

	fusb30x {
		fusb0_int: fusb0-int {
			rockchip,pins = <1 RK_PA2 RK_FUNC_GPIO &pcfg_pull_up>,
					<1 RK_PC2 RK_FUNC_GPIO &pcfg_pull_up>;
		};
	};

	mpu6500 {
		mpu6500_irq_gpio: mpu6500-irq-gpio {
			rockchip,pins = <1 RK_PC6 RK_FUNC_GPIO &pcfg_pull_none>;
		};
	};

	pmic {
		pmic_int_l: pmic-int-l {
			rockchip,pins =
				<1 RK_PC5 RK_FUNC_GPIO &pcfg_pull_up>;
		};

		vsel1_gpio: vsel1-gpio {
			rockchip,pins =
				<1 RK_PC1 RK_FUNC_GPIO &pcfg_pull_down>;
		};

		vsel2_gpio: vsel2-gpio {
			rockchip,pins =
				<1 RK_PB6 RK_FUNC_GPIO &pcfg_pull_down>;
		};

		soc_slppin_gpio: soc-slppin-gpio {
			rockchip,pins =
				<1 RK_PA5 RK_FUNC_GPIO &pcfg_output_low>;
		};

		soc_slppin_slp: soc-slppin-slp {
			rockchip,pins =
				<1 RK_PA5 1 &pcfg_pull_none>;
		};
	};

	sdio-pwrseq {
		wifi_enable_h: wifi-enable-h {
			rockchip,pins =
				<0 RK_PB2 RK_FUNC_GPIO &pcfg_pull_none>;
		};
		vcc_wifi_drv: vcc-wifi-drv {
			rockchip,pins = 
				<3 RK_PC0 RK_FUNC_GPIO &pcfg_pull_none>;
		};
	};

	wireless-bluetooth {
		uart0_gpios: uart0-gpios {
			rockchip,pins =
				<2 RK_PC3 RK_FUNC_GPIO &pcfg_pull_none>;
		};

		bt_reset_gpio: bt-reset-gpio {
			rockchip,pins =
				<0 RK_PB1 RK_FUNC_GPIO &pcfg_pull_none>;
		};

		bt_wake_gpio: bt-wake-gpio {
			rockchip,pins =
				<2 RK_PD2 RK_FUNC_GPIO &pcfg_pull_none>;
		};

		bt_irq_gpio: bt-irq-gpio {
			rockchip,pins =
				<0 RK_PA4 RK_FUNC_GPIO &pcfg_pull_down>;
		};
	};
/*
	rk-modem {
		lte_vbat: lte-vbat {
			rockchip,pins = <4 RK_PD0 RK_FUNC_GPIO &pcfg_pull_none>;
		};

		lte_power_en: lte-power-en {
			rockchip,pins = <4 RK_PC6 RK_FUNC_GPIO &pcfg_pull_none>;
		};

		lte_reset: lte-reset {
			rockchip,pins = <4 RK_PD4 RK_FUNC_GPIO &pcfg_pull_none>;
		};
	};
*/
	usb2 {
		otg_vbus_drv: otg-vbus-drv {
			rockchip,pins = 
				<4 RK_PD1 RK_FUNC_GPIO &pcfg_pull_none>;
		};
		usb_cam_drv: usb-cam-drv {
			rockchip,pins = 
				<2 28 RK_FUNC_GPIO &pcfg_pull_none>;
		};
		vcc_4g_drv: vcc-4g-drv {
			rockchip,pins = 
				<0 11 RK_FUNC_GPIO &pcfg_pull_none>;
		};
		vcc_rfid_drv: vcc_rfid_drv {
			rockchip,pins = 
				<1 4 RK_FUNC_GPIO &pcfg_pull_none>;
		};
	};
	sd {
		sdmmc0_pwr_h: sdmmc0-pwr-h {
			rockchip,pins =
				<0 RK_PA1 RK_FUNC_GPIO &pcfg_pull_up>;
		};
	};

	usbnet {
		usbnet_pwr_drv: usbnet-pwr-drv {
			rockchip,pins =
				<4 18 RK_FUNC_GPIO &pcfg_pull_none>;
		};
	};
};
